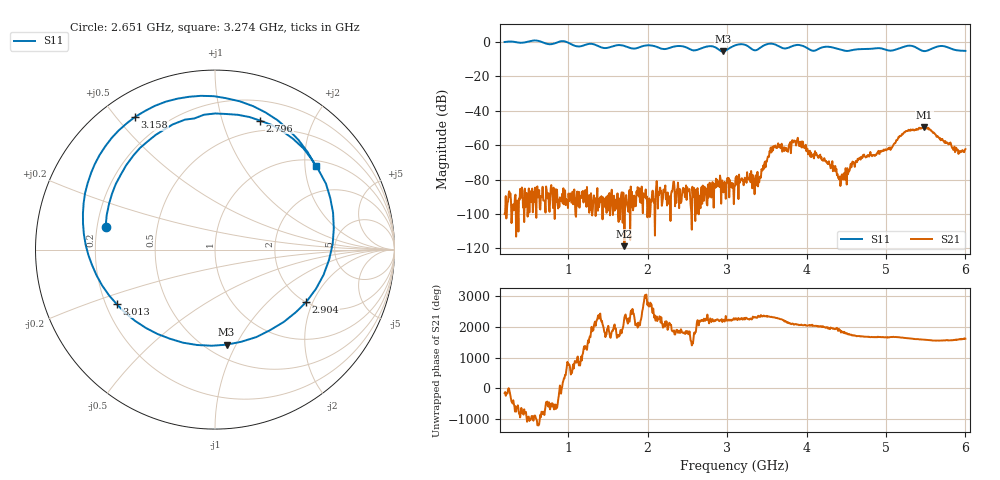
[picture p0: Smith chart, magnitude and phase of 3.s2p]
! NanoVNA-App
! Date: 2024-06-25 16:10:39
! Start: 200MHz Stop: 6GHz Points: 801
! S-Parameter data: F S11 S21 S12 S22
# Hz S RI R 50
!  Frequency  S11_Real  S11_Imag  S21_Real  S21_Imag  S12_Real  S12_Imag  S22_Real  S22_Imag
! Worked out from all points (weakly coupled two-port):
!   801 points, 200 MHz to 6 GHz, reference 50 ohm
!   highest |S21| = -49.43 dB at 5.485 GHz (marker M1); lowest = -118.7 dB at 1.708 GHz (marker M2)
!   lowest |S11| = -5.5 dB at 2.948 GHz (marker M3), VSWR 3.29, Z = 30.9 - j45.8 ohm
!   |S11| at or under -10 dB: nowhere
!   S12 and S22 are empty: the file has one direction only
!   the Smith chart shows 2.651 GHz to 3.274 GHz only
!   S11 on the Smith chart (normalised r, x): 2.651 GHz: 0.23, +0.10; 2.796 GHz: 0.39, +1.34; 2.904 GHz: 2.00, -1.79; 3.013 GHz: 0.24, -0.24; 3.158 GHz: 0.10, +0.56; 3.274 GHz: 1.15, +2.28
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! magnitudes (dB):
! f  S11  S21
! 200 MHz  0.0  -100.1
! 1.171 GHz  -2.3  -87.1
! 1.708 GHz  -2.3  -118.7
! 2.136 GHz  -3.1  -87.4
! 2.651 GHz  -4.1  -91.1
! 2.796 GHz  -2.4  -85.4
! 2.904 GHz  -4.6  -84.3
! 2.948 GHz  -5.5  -85.8
! 3.013 GHz  -4.1  -81.7
! 3.1 GHz  -1.9  -83.7
! 3.158 GHz  -1.3  -81.9
! 3.274 GHz  -2.7  -80.0
! 3.397 GHz  -4.0  -79.4
! 3.615 GHz  -1.6  -61.4
! 3.869 GHz  -1.8  -60.1
! 4.072 GHz  -5.0  -65.9
! 4.441 GHz  -4.6  -77.5
! 4.695 GHz  -4.0  -67.2
! 5.036 GHz  -4.9  -61.5
! 5.253 GHz  -2.4  -51.7
! 5.485 GHz  -5.3  -49.4
! 6 GHz  -5.1  -62.2
